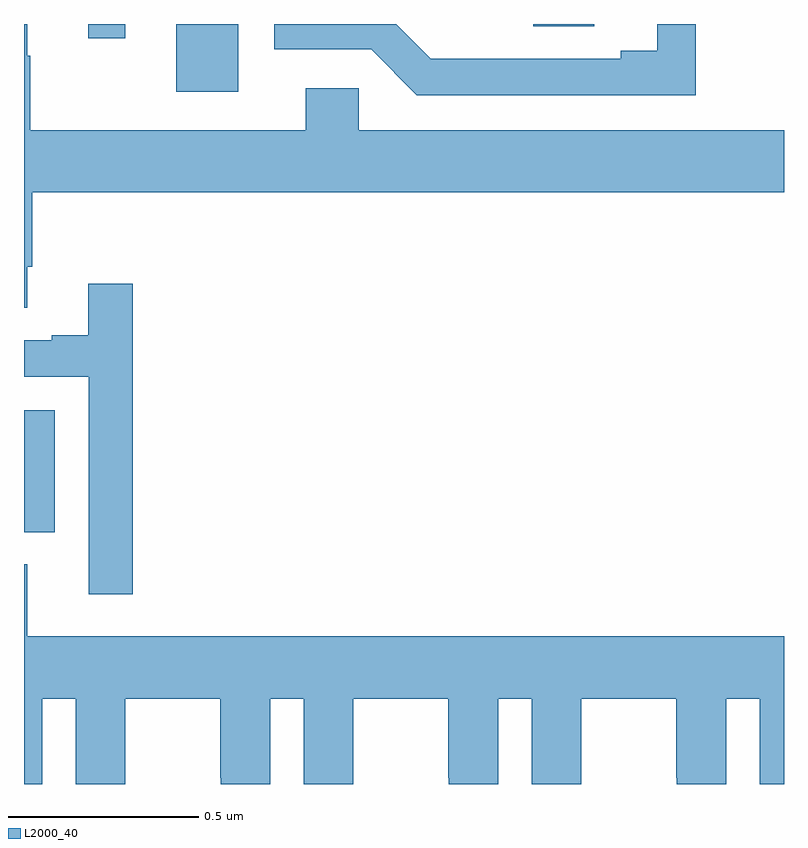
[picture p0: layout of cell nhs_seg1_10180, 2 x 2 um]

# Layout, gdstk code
import gdstk
lib = gdstk.Library(unit=1e-6, precision=1e-09)
def R(c, l, rs):  # rectangles x0, y0, x1, y1
    for r in rs: c.add(gdstk.rectangle(r[:2], r[2:], *l))
def P(c, l, *ps):  # polygons
    for p in ps: c.add(gdstk.Polygon(p, *l))
L2000_40 = (2000, 40)

nhs_seg1_10180 = lib.new_cell('nhs_seg1_10180')
R(nhs_seg1_10180, L2000_40, [(238,526.862,238.081,527.182), (238.4,528.021,238.564,528.199), (238.169,528.162,238.267,528.199), (239.34,528.193,239.5,528.199)])
P(nhs_seg1_10180, L2000_40, [(238.017,528.116),(238.009,528.116),(238.009,528.199),(238,528.199),(238,527.452),(238.009,527.452),(238.009,527.56),(238.022,527.56),(238.022,527.756),(240,527.756),(240,527.92),(238.881,527.92),(238.881,528.03),(238.742,528.03),(238.742,527.92),(238.017,527.92)],
  [(239.768,528.199),(239.666,528.199),(239.666,528.128),(239.57,528.128),(239.57,528.108),(239.07,528.108),(238.979,528.199),(238.659,528.199),(238.659,528.132),(238.914,528.132),(239.034,528.012),(239.768,528.012)],
  [(238.286,527.515),(238.169,527.515),(238.169,527.38),(238.073,527.38),(238.073,527.367),(238,527.367),(238,527.271),(238.17,527.271),(238.17,526.698),(238.286,526.698)],
  [(238.009,526.777),(238,526.777),(238,526.199),(238.048,526.199),(238.048,526.424),(238.136,526.424),(238.136,526.199),(238.266,526.199),(238.266,526.216),(238.267,526.216),(238.267,526.424),(238.517,526.424),(238.517,526.216),(238.518,526.216),(238.518,526.199),(238.648,526.199),(238.648,526.424),(238.736,526.424),(238.736,526.199),(238.866,526.199),(238.866,526.216),(238.867,526.216),(238.867,526.424),(239.117,526.424),(239.117,526.216),(239.118,526.216),(239.118,526.199),(239.248,526.199),(239.248,526.424),(239.336,526.424),(239.336,526.199),(239.466,526.199),(239.466,526.216),(239.467,526.216),(239.467,526.424),(239.717,526.424),(239.717,526.216),(239.718,526.216),(239.718,526.199),(239.848,526.199),(239.848,526.424),(239.936,526.424),(239.936,526.199),(240,526.199),(240,526.588),(238.009,526.588)])

lib.write_gds('nhs_seg1_10180.gds')
